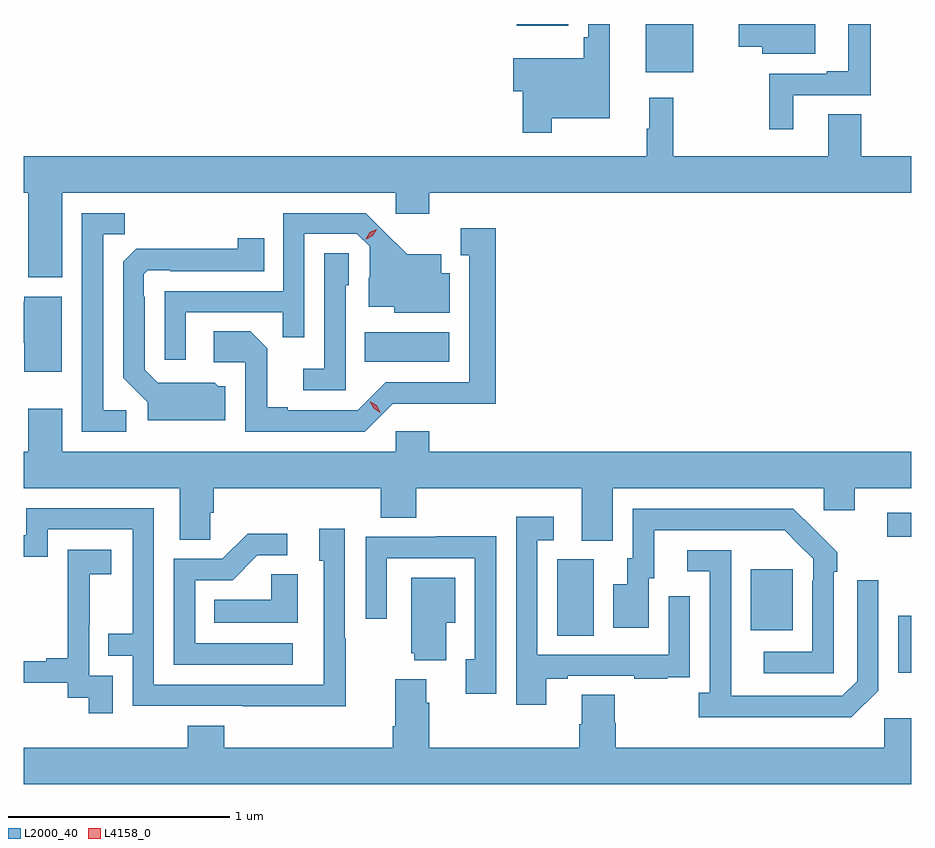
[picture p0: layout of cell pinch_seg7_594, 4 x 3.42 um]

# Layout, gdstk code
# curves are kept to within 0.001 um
import gdstk
lib = gdstk.Library(unit=1e-6, precision=1e-09)
def R(c, l, rs):  # rectangles x0, y0, x1, y1
    for r in rs: c.add(gdstk.rectangle(r[:2], r[2:], *l))
def P(c, l, *ps):  # polygons
    for p in ps: c.add(gdstk.Polygon(p, *l))
L2000_40 = (2000, 40)
L4158_0 = (4158, 0)

pinch_seg7_594 = lib.new_cell('pinch_seg7_594')
R(pinch_seg7_594, L2000_40, [(172.406,1026.425,172.466,1026.682), (170.87,1026.592,171.034,1026.936), (171.743,1026.617,171.931,1026.892), (172.356,1027.038,172.466,1027.146), (170.002,1027.826,170.383,1027.96), (171.269,1029.131,171.484,1029.348)])
P(pinch_seg7_594, L2000_40, [(171.934,1029.027),(172.283,1029.027),(172.283,1029.348),(172.181,1029.348),(172.181,1029.136),(172.085,1029.136),(172.085,1029.123),(171.825,1029.123),(171.825,1028.874),(171.934,1028.874)],
  [(170.92,1029.348),(170.22,1029.348),(170.22,1029.347),(170.688,1029.347),(170.688,1029.341),(170.92,1029.341)],
  [(170.845,1028.924),(171.106,1028.924),(171.106,1029.348),(171.009,1029.348),(171.009,1029.289),(170.989,1029.289),(170.989,1029.193),(170.672,1029.193),(170.672,1029.046),(170.716,1029.046),(170.716,1028.859),(170.845,1028.859)],
  [(172.033,1029.348),(171.689,1029.348),(171.689,1029.245),(171.794,1029.245),(171.794,1029.215),(172.033,1029.215)],
  [(172.091,1028.942),(172.091,1028.752),(171.394,1028.752),(171.394,1029.016),(171.284,1029.016),(171.284,1028.876),(171.273,1028.876),(171.273,1028.752),(168.466,1028.752),(168.466,1028.588),(168.488,1028.588),(168.488,1028.208),(168.64,1028.208),(168.64,1028.588),(170.142,1028.588),(170.142,1028.493),(170.294,1028.493),(170.294,1028.588),(172.466,1028.588),(172.466,1028.752),(172.239,1028.752),(172.239,1028.942)],
  [(168.928,1027.608),(168.825,1027.608),(168.825,1028.401),(168.921,1028.401),(168.921,1028.496),(168.729,1028.496),(168.729,1027.512),(168.928,1027.512)],
  [(169.197,1028.049),(169.633,1028.049),(169.633,1027.936),(169.731,1027.936),(169.731,1028.403),(169.968,1028.403),(170.025,1028.346),(170.025,1028.204),(170.021,1028.204),(170.021,1028.075),(170.136,1028.075),(170.136,1028.048),(170.386,1028.048),(170.386,1028.224),(170.347,1028.224),(170.347,1028.311),(170.195,1028.311),(170.008,1028.496),(169.635,1028.496),(169.635,1028.145),(169.101,1028.145),(169.101,1027.836),(169.197,1027.836)],
  [(170.13,1027.638),(170.593,1027.637),(170.593,1028.428),(170.435,1028.428),(170.435,1028.307),(170.474,1028.307),(170.474,1027.734),(170.097,1027.734),(169.971,1027.608),(169.657,1027.608),(169.657,1027.621),(169.563,1027.621),(169.563,1027.888),(169.487,1027.964),(169.323,1027.964),(169.323,1027.824),(169.464,1027.824),(169.464,1027.512),(170.004,1027.512)],
  [(169.375,1027.716),(169.344,1027.716),(169.328,1027.732),(169.071,1027.731),(169.011,1027.791),(169.011,1028.12),(169.008,1028.12),(169.008,1028.22),(169.026,1028.238),(169.126,1028.238),(169.126,1028.235),(169.55,1028.235),(169.55,1028.382),(169.432,1028.382),(169.432,1028.336),(168.974,1028.335),(168.915,1028.276),(168.915,1027.754),(169.025,1027.644),(169.025,1027.562),(169.375,1027.562)],
  [(169.917,1028.172),(169.932,1028.172),(169.932,1028.315),(169.821,1028.315),(169.821,1027.795),(169.725,1027.795),(169.725,1027.698),(169.917,1027.698)],
  [(168.637,1028.119),(168.47,1028.119),(168.47,1028.096),(168.466,1028.096),(168.466,1027.913),(168.47,1027.913),(168.47,1027.782),(168.637,1027.782)],
  [(171.121,1027.256),(172.071,1027.256),(172.071,1027.158),(172.21,1027.158),(172.21,1027.256),(172.466,1027.256),(172.466,1027.42),(170.294,1027.42),(170.294,1027.513),(170.142,1027.513),(170.142,1027.42),(168.64,1027.42),(168.64,1027.615),(168.488,1027.615),(168.488,1027.42),(168.466,1027.42),(168.466,1027.256),(169.169,1027.256),(169.169,1027.024),(169.308,1027.024),(169.308,1027.147),(169.322,1027.147),(169.322,1027.256),(170.075,1027.256),(170.075,1027.123),(170.235,1027.123),(170.235,1027.256),(170.981,1027.256),(170.981,1027.021),(171.121,1027.021)],
  [(169.917,1026.581),(169.914,1026.581),(169.914,1027.075),(169.799,1027.075),(169.799,1026.93),(169.818,1026.93),(169.818,1026.372),(169.053,1026.372),(169.053,1027.167),(168.479,1027.167),(168.479,1027.044),(168.466,1027.044),(168.466,1026.948),(168.576,1026.948),(168.576,1027.071),(168.957,1027.071),(168.957,1026.602),(168.847,1026.602),(168.847,1026.501),(168.957,1026.501),(168.957,1026.276),(169.453,1026.276),(169.453,1026.275),(169.917,1026.275)],
  [(172.116,1026.881),(172.131,1026.881),(172.131,1026.969),(171.934,1027.164),(171.21,1027.164),(171.21,1026.942),(171.185,1026.942),(171.185,1026.823),(171.122,1026.823),(171.122,1026.627),(171.283,1026.627),(171.283,1026.852),(171.307,1026.852),(171.307,1027.068),(171.895,1027.068),(172.023,1026.939),(172.023,1026.839),(172.02,1026.839),(172.02,1026.519),(171.801,1026.519),(171.801,1026.423),(172.116,1026.423)],
  [(170.821,1026.399),(170.917,1026.399),(170.917,1026.411),(171.217,1026.411),(171.217,1026.399),(171.365,1026.399),(171.365,1026.405),(171.467,1026.405),(171.467,1026.514),(171.468,1026.514),(171.468,1026.769),(171.372,1026.769),(171.372,1026.507),(170.781,1026.507),(170.781,1027.023),(170.854,1027.023),(170.854,1027.129),(170.685,1027.129),(170.685,1026.282),(170.821,1026.282)],
  [(169.678,1026.558),(169.239,1026.558),(169.239,1026.843),(169.408,1026.843),(169.519,1026.954),(169.654,1026.954),(169.654,1027.052),(169.475,1027.052),(169.362,1026.939),(169.143,1026.939),(169.143,1026.462),(169.678,1026.462)],
  [(170.595,1027.04),(170.323,1027.04),(170.323,1027.038),(170.007,1027.038),(170.007,1026.669),(170.103,1026.669),(170.103,1026.942),(170.499,1026.942),(170.499,1026.486),(170.459,1026.486),(170.459,1026.33),(170.595,1026.33)],
  [(168.867,1026.411),(168.762,1026.411),(168.762,1026.641),(168.764,1026.641),(168.764,1026.869),(168.862,1026.869),(168.862,1026.979),(168.664,1026.979),(168.664,1026.773),(168.665,1026.773),(168.665,1026.49),(168.569,1026.49),(168.569,1026.477),(168.466,1026.477),(168.466,1026.381),(168.666,1026.381),(168.666,1026.313),(168.759,1026.313),(168.759,1026.243),(168.867,1026.243)],
  [(172.317,1026.345),(172.317,1026.841),(172.221,1026.841),(172.221,1026.387),(172.155,1026.321),(171.655,1026.321),(171.654,1026.978),(171.456,1026.978),(171.456,1026.882),(171.558,1026.882),(171.558,1026.334),(171.507,1026.334),(171.507,1026.224),(172.196,1026.224)],
  [(169.702,1026.869),(169.581,1026.869),(169.581,1026.754),(169.324,1026.754),(169.324,1026.65),(169.702,1026.65)],
  [(170.371,1026.65),(170.41,1026.65),(170.41,1026.853),(170.213,1026.853),(170.213,1026.513),(170.225,1026.513),(170.225,1026.482),(170.371,1026.482)],
  [(172.466,1026.22),(172.344,1026.22),(172.344,1026.088),(171.134,1026.088),(171.134,1026.201),(171.129,1026.201),(171.129,1026.326),(170.981,1026.326),(170.981,1026.194),(170.969,1026.194),(170.969,1026.088),(170.294,1026.088),(170.294,1026.29),(170.281,1026.29),(170.281,1026.397),(170.141,1026.397),(170.141,1026.184),(170.129,1026.184),(170.129,1026.088),(169.37,1026.088),(169.37,1026.187),(169.205,1026.187),(169.205,1026.088),(168.466,1026.088),(168.466,1025.924),(172.466,1025.924)])
P(pinch_seg7_594, L4158_0, [(170.008,1028.379),(170.008,1028.379),(170.026,1028.409),(170.056,1028.424),(170.057,1028.424),(170.057,1028.424),(170.039,1028.394),(170.009,1028.379)],
  [(170.074,1027.597),(170.043,1027.616),(170.026,1027.649),(170.026,1027.649),(170.026,1027.649),(170.057,1027.63),(170.074,1027.597),(170.074,1027.597)])

lib.write_gds('pinch_seg7_594.gds')
